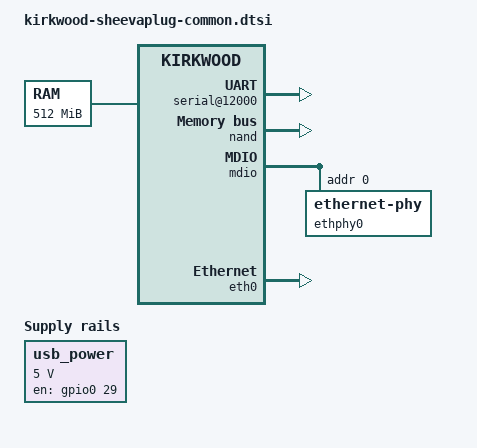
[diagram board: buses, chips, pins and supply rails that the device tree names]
/*
 * kirkwood-sheevaplug-common.dtsi - Common parts for Sheevaplugs
 *
 * Copyright (C) 2013 Simon Baatz <gmbnomis@gmail.com>
 *
 * Licensed under GPLv2
 */

#include "kirkwood.dtsi"
#include "kirkwood-6281.dtsi"

/ {
	memory {
		device_type = "memory";
		reg = <0x00000000 0x20000000>;
	};

	chosen {
		bootargs = "console=ttyS0,115200n8 earlyprintk";
		stdout-path = &uart0;
	};

	ocp@f1000000 {
		pinctrl: pin-controller@10000 {

			pmx_usb_power_enable: pmx-usb-power-enable {
				marvell,pins = "mpp29";
				marvell,function = "gpio";
			};
			pmx_led_red: pmx-led-red {
				marvell,pins = "mpp46";
				marvell,function = "gpio";
			};
			pmx_led_blue: pmx-led-blue {
				marvell,pins = "mpp49";
				marvell,function = "gpio";
			};
			pmx_sdio_cd: pmx-sdio-cd {
				marvell,pins = "mpp44";
				marvell,function = "gpio";
			};
			pmx_sdio_wp: pmx-sdio-wp {
				marvell,pins = "mpp47";
				marvell,function = "gpio";
			};
		};
		serial@12000 {
			status = "okay";
		};
	};

	regulators {
		compatible = "simple-bus";
		#address-cells = <1>;
		#size-cells = <0>;
		pinctrl-0 = <&pmx_usb_power_enable>;
		pinctrl-names = "default";

		usb_power: regulator@1 {
			compatible = "regulator-fixed";
			reg = <1>;
			regulator-name = "USB Power";
			regulator-min-microvolt = <5000000>;
			regulator-max-microvolt = <5000000>;
			enable-active-high;
			regulator-always-on;
			regulator-boot-on;
			gpio = <&gpio0 29 0>;
		};
	};
};

&nand {
	status = "okay";

	partition@0 {
		label = "u-boot";
		reg = <0x0000000 0x100000>;
	};

	partition@100000 {
		label = "uImage";
		reg = <0x0100000 0x400000>;
	};

	partition@500000 {
		label = "root";
		reg = <0x0500000 0x1fb00000>;
	};
};

&mdio {
	status = "okay";

	ethphy0: ethernet-phy@0 {
		reg = <0>;
	};
};

&eth0 {
	status = "okay";
	ethernet0-port@0 {
		phy-handle = <&ethphy0>;
	};
};
